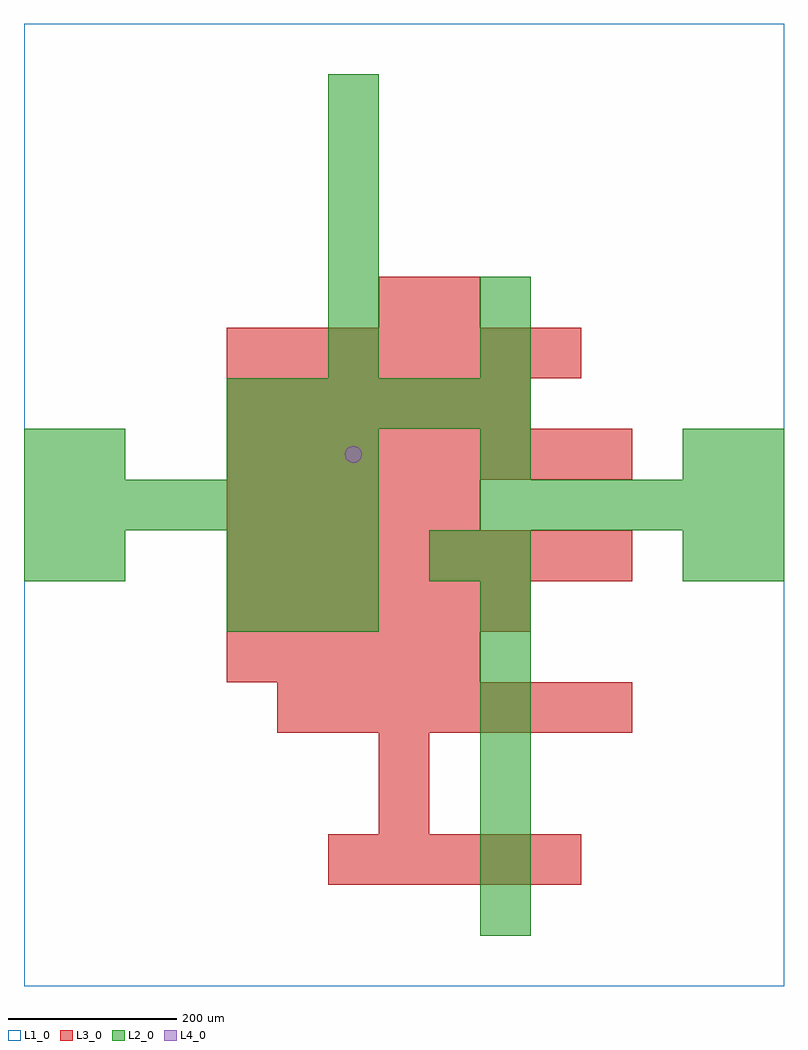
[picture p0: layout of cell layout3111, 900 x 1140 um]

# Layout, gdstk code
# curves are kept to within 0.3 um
import gdstk
lib = gdstk.Library(unit=1e-6, precision=1e-09)
def R(c, l, rs):  # rectangles x0, y0, x1, y1
    for r in rs: c.add(gdstk.rectangle(r[:2], r[2:], *l))
def A(c, l, x, y, w, h, nx, ny, dx, dy):  # array of equal rectangles
    R(c, l, [(x+i*dx, y+j*dy, x+i*dx+w, y+j*dy+h) for i in range(nx) for j in range(ny)])
def P(c, l, *ps):  # polygons
    for p in ps: c.add(gdstk.Polygon(p, *l))
L1_0 = (1, 0)
L2_0 = (2, 0)
L3_0 = (3, 0)
L4_0 = (4, 0)

layout3111 = lib.new_cell('layout3111')
R(layout3111, L1_0, [(0,0,900,1140)])
A(layout3111, L2_0, 540, 60, 60, 60, 1, 8, 0, 60)
A(layout3111, L2_0, 240, 420, 60, 60, 3, 2, 60, 60)
A(layout3111, L2_0, 0, 540, 60, 60, 7, 1, 60, 0)
A(layout3111, L2_0, 540, 540, 60, 60, 6, 1, 60, 0)
A(layout3111, L2_0, 240, 600, 60, 60, 3, 1, 60, 0)
A(layout3111, L2_0, 240, 660, 60, 60, 6, 1, 60, 0)
A(layout3111, L2_0, 360, 720, 60, 60, 1, 6, 0, 60)
R(layout3111, L2_0, [(0,480,60,540), (60,480,120,540), (480,480,540,540), (780,480,840,540), (840,480,900,540), (0,600,60,660), (60,600,120,660), (540,600,600,660), (780,600,840,660), (840,600,900,660), (540,720,600,780), (540,780,600,840)])
A(layout3111, L3_0, 360, 120, 60, 60, 5, 1, 60, 0)
A(layout3111, L3_0, 300, 300, 60, 60, 7, 1, 60, 0)
A(layout3111, L3_0, 240, 360, 60, 60, 5, 2, 60, 180)
A(layout3111, L3_0, 240, 420, 60, 60, 6, 2, 60, 240)
A(layout3111, L3_0, 240, 480, 60, 60, 8, 2, 60, 120)
A(layout3111, L3_0, 240, 720, 60, 60, 7, 1, 60, 0)
R(layout3111, L3_0, [(420,180,480,240), (420,240,480,300), (420,780,480,840), (480,780,540,840)])
P(layout3111, L4_0, [(400,630),(399.239,633.827),(397.071,637.071),(393.827,639.239),(390,640),(386.173,639.239),(382.929,637.071),(380.761,633.827),(380,630),(380.761,626.173),(382.929,622.929),(386.173,620.761),(390,620),(393.827,620.761),(397.071,622.929),(399.239,626.173)])

lib.write_gds('layout3111.gds')
